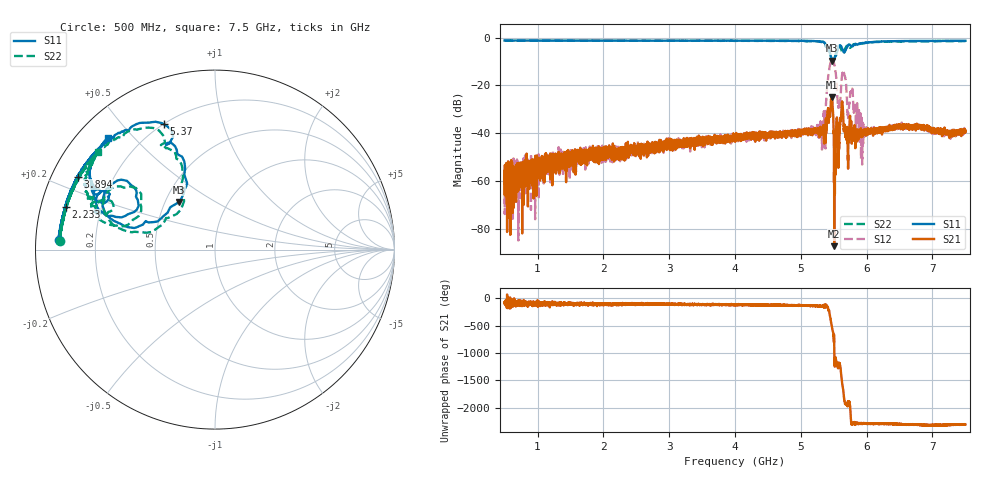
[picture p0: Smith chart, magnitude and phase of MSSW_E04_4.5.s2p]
!Keysight Technologies,M9374A,MY55442783,A.12.55.05
!Date: Wednesday, May 19, 2021 18:35:19
!Correction: S11(Full 2 Port(1,2))
!S21(Full 2 Port(1,2))
!S12(Full 2 Port(1,2))
!S22(Full 2 Port(1,2))
!S2P File: Measurements: S11, S21, S12, S22:
# Hz S  RI  R 50
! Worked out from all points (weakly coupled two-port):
!   7001 points, 500 MHz to 7.5 GHz, reference 50 ohm
!   highest |S21| = -24.94 dB at 5.476 GHz (marker M1); lowest = -87.2 dB at 5.507 GHz (marker M2)
!   lowest |S11| = -9.6 dB at 5.476 GHz (marker M3), VSWR 1.99, Z = 29.5 + j17.6 ohm
!   |S11| at or under -10 dB: nowhere
!   |S22| runs from -10.7 to -1.2 dB; largest |S21 - S12| = 0.34
!   S11 on the Smith chart (normalised r, x): 500 MHz: 0.07, +0.03; 2.233 GHz: 0.07, +0.14; 3.894 GHz: 0.08, +0.25; 5.37 GHz: 0.20, +0.65; 7.5 GHz: 0.09, +0.42
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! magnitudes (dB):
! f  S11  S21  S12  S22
! 500 MHz  -1.2  -58.1  -60.8  -1.2
! 1.667 GHz  -1.2  -49.3  -48.0  -1.3
! 2.233 GHz  -1.2  -50.0  -45.7  -1.3
! 2.834 GHz  -1.2  -45.5  -45.8  -1.3
! 3.894 GHz  -1.2  -40.8  -41.4  -1.3
! 4 GHz  -1.2  -41.4  -43.0  -1.3
! 5.167 GHz  -1.4  -39.2  -38.0  -1.5
! 5.342 GHz  -1.7  -36.7  -33.3  -1.8
! 5.37 GHz  -2.4  -38.7  -36.8  -2.3
! 5.446 GHz  -6.8  -32.6  -11.2  -7.1
! 5.466 GHz  -8.7  -25.6  -9.0  -8.8
! 5.476 GHz  -9.6  -24.9  -8.6  -10.7
! 5.507 GHz  -9.2  -87.2  -11.1  -9.2
! 5.538 GHz  -7.1  -36.3  -16.6  -5.9
! 5.575 GHz  -3.8  -51.8  -28.7  -3.4
! 5.622 GHz  -4.3  -27.5  -16.9  -6.0
! 5.655 GHz  -6.1  -37.7  -14.7  -6.0
! 5.701 GHz  -4.1  -38.4  -26.1  -3.3
! 5.779 GHz  -3.6  -39.0  -21.6  -3.5
! 5.946 GHz  -2.3  -39.3  -43.8  -2.3
! 6.334 GHz  -1.5  -37.3  -38.2  -1.6
! 7.5 GHz  -1.3  -38.8  -39.7  -1.4
